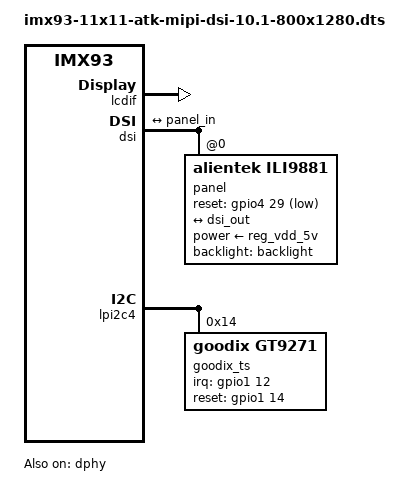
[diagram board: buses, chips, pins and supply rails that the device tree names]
// SPDX-License-Identifier: (GPL-2.0+ OR MIT)
/*
 * Copyright 2022 NXP
 */
#include "imx93-11x11-atk.dts"

&lcdif {
	status = "okay";
	assigned-clock-rates = <650000000>, <65000000>, <400000000>, <133333333>;
};

&dphy {
	status = "okay";
};

&dsi {
	status = "okay";
	#address-cells = <1>;
	#size-cells = <0>;

	panel@0 {
		compatible = "alientek,ili9881";
		reg = <0>;
		reset-gpio = <&gpio4 29 GPIO_ACTIVE_LOW>;
		power-supply = <&reg_vdd_5v>;
		backlight = <&backlight>;
		status = "okay";

		port {
			panel_in: endpoint {
				remote-endpoint = <&dsi_out>;
			};
		};
	};

	ports {
		port@1 {
			reg = <1>;

			dsi_out: endpoint {
				remote-endpoint = <&panel_in>;
			};
		};
	};
};

&lpi2c4 {
    goodix_ts@14 {
		compatible = "goodix,gt9271", "goodix,gt911";
		reg = <0x14>;
		pinctrl-names = "default";
		pinctrl-0 = <&pinctrl_ctp_int_dsi>;
		interrupt-parent = <&gpio1>;
		interrupts = <12 IRQ_TYPE_EDGE_RISING>;
		irq-gpios = <&gpio1 12 GPIO_ACTIVE_HIGH>;
		reset-gpios = <&gpio1 14 GPIO_ACTIVE_HIGH>;
		status = "okay";
	};
};

&iomuxc {
	pinctrl_ctp_int_dsi: ctp_int_dsi_grp {
		fsl,pins = <
			MX93_PAD_SAI1_TXC__GPIO1_IO12			0x31e
		>;
	};

	pinctrl_dsi_reset: dsi_reset_grp {
		fsl,pins = <
			MX93_PAD_CCM_CLKO4__GPIO4_IO29			0x31e
		>;
	};
};

&ldb {
	status = "disabled";
};

&ldb_phy {
	status = "disabled";
};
